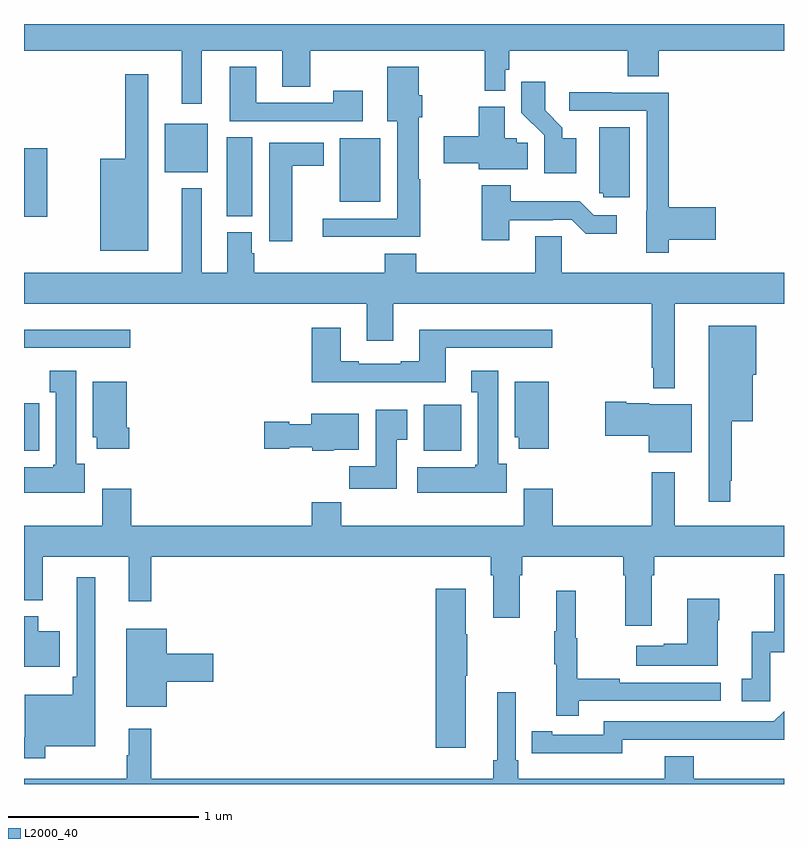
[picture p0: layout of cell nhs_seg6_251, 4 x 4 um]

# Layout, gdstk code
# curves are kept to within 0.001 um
import gdstk
lib = gdstk.Library(unit=1e-6, precision=1e-09)
def R(c, l, rs):  # rectangles x0, y0, x1, y1
    for r in rs: c.add(gdstk.rectangle(r[:2], r[2:], *l))
def P(c, l, *ps):  # polygons
    for p in ps: c.add(gdstk.Polygon(p, *l))
L2000_40 = (2000, 40)

nhs_seg6_251 = lib.new_cell('nhs_seg6_251')
R(nhs_seg6_251, L2000_40, [(125,921.254,125.079,921.505), (127.103,921.254,127.3,921.496), (125,921.795,125.56,921.892), (125,922.486,125.122,922.846), (126.068,922.489,126.202,922.904), (126.662,922.565,126.874,922.9), (125.741,922.721,125.968,922.975)])
P(nhs_seg6_251, L2000_40, [(125.935,923.36),(126.359,923.36),(126.359,923.17),(126.507,923.17),(126.507,923.36),(127.425,923.36),(127.425,923.15),(127.533,923.15),(127.533,923.259),(127.553,923.259),(127.553,923.36),(128.177,923.36),(128.177,923.224),(128.342,923.224),(128.342,923.36),(129,923.36),(129,923.5),(125,923.5),(125,923.36),(125.831,923.36),(125.831,923.079),(125.935,923.079)],
  [(127.086,922.682),(127.078,922.682),(127.078,923.01),(127.096,923.01),(127.096,923.124),(127.078,923.124),(127.078,923.275),(126.911,923.275),(126.911,922.988),(126.965,922.988),(126.965,922.476),(126.573,922.476),(126.573,922.379),(127.086,922.379)],
  [(126.784,923.149),(126.628,923.149),(126.628,923.085),(126.223,923.085),(126.223,923.275),(126.083,923.275),(126.083,922.989),(126.784,922.989)],
  [(125.653,923.236),(125.532,923.236),(125.532,922.792),(125.402,922.792),(125.402,922.307),(125.653,922.307)],
  [(127.906,922.9),(127.834,922.9),(127.834,922.955),(127.744,923.045),(127.744,923.197),(127.618,923.197),(127.618,923.034),(127.737,922.915),(127.737,922.764),(127.739,922.764),(127.739,922.715),(127.906,922.715)],
  [(128.393,922.364),(128.641,922.364),(128.641,922.535),(128.393,922.535),(128.393,923.139),(128.093,923.139),(128.093,923.142),(127.869,923.142),(127.869,923.043),(128.277,923.043),(128.277,922.518),(128.276,922.518),(128.276,922.296),(128.393,922.296)],
  [(127.652,922.874),(127.593,922.874),(127.593,922.899),(127.531,922.899),(127.531,923.065),(127.394,923.065),(127.394,922.908),(127.209,922.908),(127.209,922.766),(127.394,922.766),(127.394,922.736),(127.652,922.736)],
  [(128.188,922.957),(128.027,922.957),(128.027,922.608),(128.049,922.608),(128.049,922.587),(128.188,922.587)],
  [(126.412,922.754),(126.577,922.754),(126.577,922.876),(126.29,922.876),(126.29,922.356),(126.412,922.356)],
  [(127.555,922.467),(127.784,922.467),(127.784,922.47),(127.884,922.47),(127.957,922.397),(128.119,922.397),(128.119,922.494),(127.998,922.494),(127.925,922.567),(127.563,922.567),(127.563,922.651),(127.408,922.651),(127.408,922.362),(127.555,922.362)],
  [(128.425,922.028),(129,922.028),(129,922.192),(127.83,922.192),(127.83,922.382),(127.691,922.382),(127.691,922.192),(127.064,922.192),(127.064,922.291),(126.899,922.291),(126.899,922.192),(126.212,922.192),(126.212,922.293),(126.199,922.293),(126.199,922.404),(126.071,922.404),(126.071,922.192),(125.935,922.192),(125.935,922.636),(125.831,922.636),(125.831,922.192),(125,922.192),(125,922.028),(126.803,922.028),(126.803,921.834),(126.943,921.834),(126.943,922.028),(128.304,922.028),(128.304,921.691),(128.311,921.691),(128.311,921.584),(128.425,921.584)],
  [(128.717,921.097),(128.725,921.097),(128.725,921.41),(128.836,921.41),(128.836,921.654),(128.854,921.654),(128.854,921.913),(128.603,921.913),(128.603,920.985),(128.717,920.985)],
  [(127.219,921.795),(127.78,921.795),(127.78,921.892),(127.079,921.892),(127.079,921.724),(126.983,921.724),(126.983,921.711),(126.763,921.711),(126.763,921.724),(126.667,921.724),(126.667,921.901),(126.515,921.901),(126.515,921.614),(127.219,921.614)],
  [(127.54,921.186),(127.495,921.186),(127.495,921.676),(127.355,921.676),(127.355,921.563),(127.388,921.563),(127.388,921.18),(127.375,921.18),(127.375,921.166),(127.071,921.166),(127.071,921.032),(127.54,921.032)],
  [(125.32,921.186),(125.275,921.186),(125.275,921.676),(125.135,921.676),(125.135,921.563),(125.168,921.563),(125.168,921.18),(125.155,921.18),(125.155,921.166),(125,921.166),(125,921.032),(125.32,921.032)],
  [(127.762,921.616),(127.583,921.616),(127.583,921.324),(127.604,921.324),(127.604,921.264),(127.762,921.264)],
  [(125.555,921.376),(125.542,921.376),(125.542,921.616),(125.363,921.616),(125.363,921.324),(125.384,921.324),(125.384,921.264),(125.555,921.264)],
  [(128.515,921.499),(128.292,921.499),(128.292,921.505),(128.17,921.505),(128.17,921.512),(128.058,921.512),(128.058,921.334),(128.288,921.334),(128.288,921.245),(128.515,921.245)],
  [(126.961,921.313),(127.018,921.313),(127.018,921.469),(126.851,921.469),(126.851,921.172),(126.712,921.172),(126.712,921.054),(126.961,921.054)],
  [(126.63,921.26),(126.763,921.26),(126.763,921.448),(126.512,921.448),(126.512,921.394),(126.396,921.394),(126.396,921.407),(126.264,921.407),(126.264,921.265),(126.396,921.265),(126.396,921.272),(126.516,921.272),(126.516,921.254),(126.63,921.254)],
  [(128.305,920.6),(128.318,920.6),(128.318,920.696),(129,920.696),(129,920.86),(128.425,920.86),(128.425,921.142),(128.304,921.142),(128.304,920.86),(127.784,920.86),(127.784,921.055),(127.631,921.055),(127.631,920.86),(126.671,920.86),(126.671,920.984),(126.515,920.984),(126.515,920.86),(125.564,920.86),(125.564,921.055),(125.411,921.055),(125.411,920.86),(125,920.86),(125,920.696),(125.001,920.696),(125.001,920.468),(125.099,920.468),(125.099,920.696),(125.552,920.696),(125.552,920.463),(125.669,920.463),(125.669,920.696),(127.457,920.696),(127.457,920.6),(127.469,920.6),(127.469,920.376),(127.609,920.376),(127.609,920.6),(127.622,920.6),(127.622,920.696),(128.153,920.696),(128.153,920.6),(128.165,920.6),(128.165,920.334),(128.305,920.334)],
  [(128.928,920.193),(129,920.193),(129,920.604),(128.949,920.604),(128.949,920.302),(128.831,920.302),(128.831,920.055),(128.778,920.055),(128.778,919.935),(128.928,919.935)],
  [(125.113,919.7),(125.374,919.7),(125.374,920.587),(125.277,920.587),(125.277,920.065),(125.257,920.065),(125.257,919.969),(125.004,919.969),(125.004,919.747),(125,919.747),(125,919.635),(125.113,919.635)],
  [(127.324,920.071),(127.332,920.071),(127.332,920.288),(127.324,920.288),(127.324,920.527),(127.166,920.527),(127.166,919.692),(127.324,919.692)],
  [(127.919,919.938),(128.668,919.938),(128.668,920.034),(128.135,920.034),(128.135,920.054),(127.912,920.054),(127.912,920.268),(127.904,920.268),(127.904,920.518),(127.802,920.518),(127.802,920.305),(127.791,920.305),(127.791,920.131),(127.802,920.131),(127.802,919.86),(127.919,919.86)],
  [(128.65,920.363),(128.658,920.363),(128.658,920.476),(128.492,920.476),(128.492,920.237),(128.366,920.237),(128.366,920.227),(128.223,920.227),(128.223,920.123),(128.65,920.123)],
  [(125.188,920.305),(125.074,920.305),(125.074,920.383),(125,920.383),(125,920.117),(125.188,920.117)],
  [(125.752,920.039),(125.995,920.039),(125.995,920.186),(125.752,920.186),(125.752,920.317),(125.537,920.317),(125.537,919.907),(125.752,919.907)],
  [(129,919.528),(128.525,919.528),(128.525,919.645),(128.372,919.645),(128.372,919.528),(127.601,919.528),(127.601,919.624),(127.587,919.624),(127.587,919.984),(127.49,919.984),(127.49,919.624),(127.471,919.624),(127.471,919.528),(125.669,919.528),(125.669,919.792),(125.552,919.792),(125.552,919.652),(125.541,919.652),(125.541,919.528),(125,919.528),(125,919.5),(129,919.5)],
  [(128.148,919.734),(129,919.733),(129,919.884),(128.946,919.83),(128.052,919.83),(128.052,919.758),(127.78,919.758),(127.78,919.778),(127.672,919.778),(127.672,919.662),(128.148,919.661)])

lib.write_gds('nhs_seg6_251.gds')
